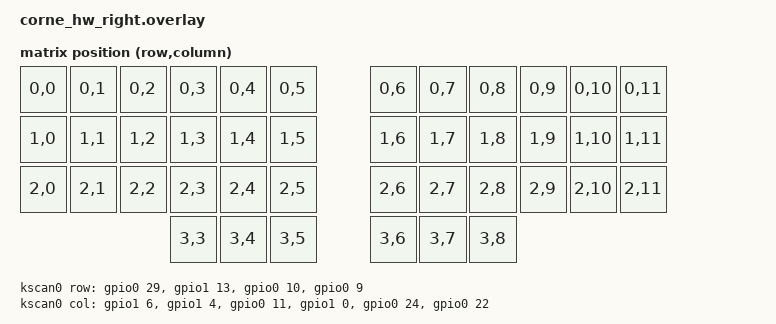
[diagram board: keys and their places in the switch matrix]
#include <dt-bindings/zmk/matrix_transform.h>
#include "corne_hw.dtsi"

/ {
    chosen { 
        zmk,kscan = &kscan0; 
        zmk,matrix-transform = &default_transform;
    };

    default_transform: matrix_transform {
        compatible = "zmk,matrix-transform";
        columns = <12>;
        rows = <4>;
        
        /* THIS is where the offset belongs! */
        col-offset = <6>; 
        
        /* The master map must be present here too to satisfy the keymap compiler */
        map = <
            RC(0,0) RC(0,1) RC(0,2) RC(0,3) RC(0,4) RC(0,5)     RC(0,6) RC(0,7) RC(0,8) RC(0,9) RC(0,10) RC(0,11)
            RC(1,0) RC(1,1) RC(1,2) RC(1,3) RC(1,4) RC(1,5)     RC(1,6) RC(1,7) RC(1,8) RC(1,9) RC(1,10) RC(1,11)
            RC(2,0) RC(2,1) RC(2,2) RC(2,3) RC(2,4) RC(2,5)     RC(2,6) RC(2,7) RC(2,8) RC(2,9) RC(2,10) RC(2,11)
                                    RC(3,3) RC(3,4) RC(3,5)     RC(3,6) RC(3,7) RC(3,8)
        >;
    };

    kscan0: kscan {
        compatible = "zmk,kscan-gpio-matrix";
        label = "KSCAN_RIGHT";

        /* Rows: P0.29, P1.13, P0.10, P0.09 */
        row-gpios = <&gpio0 29 (GPIO_ACTIVE_HIGH | GPIO_PULL_DOWN)>,
                    <&gpio1 13 (GPIO_ACTIVE_HIGH | GPIO_PULL_DOWN)>,
                    <&gpio0 10 (GPIO_ACTIVE_HIGH | GPIO_PULL_DOWN)>,
                    <&gpio0 9  (GPIO_ACTIVE_HIGH | GPIO_PULL_DOWN)>;

        /* Cols: P1.06, P1.04, P0.11, P1.00, P0.24, P0.22 */
        col-gpios = <&gpio1 6  GPIO_ACTIVE_HIGH>,
                    <&gpio1 4  GPIO_ACTIVE_HIGH>,
                    <&gpio0 11 GPIO_ACTIVE_HIGH>,
                    <&gpio1 0  GPIO_ACTIVE_HIGH>,
                    <&gpio0 24 GPIO_ACTIVE_HIGH>,
                    <&gpio0 22 GPIO_ACTIVE_HIGH>;

        diode-direction = "col2row";
        debounce-press-ms = <5>;
        debounce-release-ms = <5>;
        wakeup-source;
    };
};
